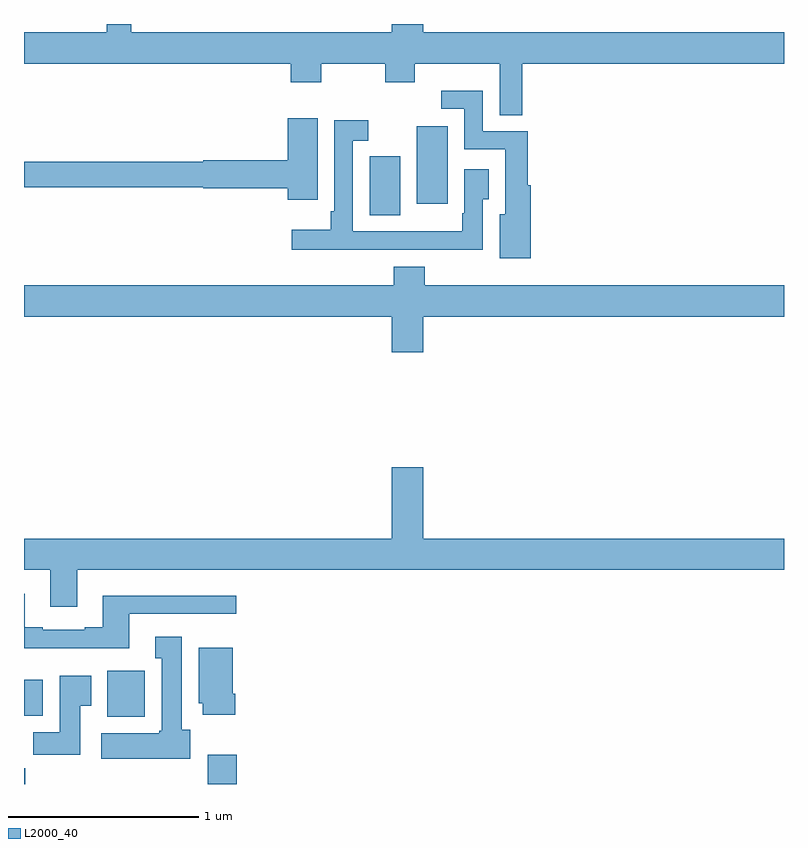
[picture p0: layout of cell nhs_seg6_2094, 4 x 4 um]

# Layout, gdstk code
import gdstk
lib = gdstk.Library(unit=1e-6, precision=1e-09)
def R(c, l, rs):  # rectangles x0, y0, x1, y1
    for r in rs: c.add(gdstk.rectangle(r[:2], r[2:], *l))
def P(c, l, *ps):  # polygons
    for p in ps: c.add(gdstk.Polygon(p, *l))
L2000_40 = (2000, 40)

nhs_seg6_2094 = lib.new_cell('nhs_seg6_2094')
R(nhs_seg6_2094, L2000_40, [(235,987.5,235.007,987.584), (235.967,987.5,236.12,987.655), (235.439,987.854,235.636,988.096), (235,987.86,235.099,988.048), (236.819,990.493,236.98,990.804), (237.068,990.555,237.229,990.961)])
P(nhs_seg6_2094, L2000_40, [(237.622,991.292),(239,991.292),(239,991.456),(237.1,991.456),(237.1,991.5),(236.936,991.5),(236.936,991.456),(235.565,991.456),(235.565,991.5),(235.436,991.5),(235.436,991.456),(235,991.456),(235,991.292),(236.405,991.292),(236.405,991.193),(236.565,991.193),(236.565,991.292),(236.902,991.292),(236.902,991.193),(237.057,991.193),(237.057,991.292),(237.503,991.292),(237.503,991.021),(237.622,991.021)],
  [(237.668,990.651),(237.652,990.651),(237.652,990.936),(237.414,990.936),(237.414,991.15),(237.195,991.15),(237.195,991.053),(237.318,991.053),(237.318,990.84),(237.533,990.84),(237.533,990.499),(237.503,990.499),(237.503,990.267),(237.668,990.267)],
  [(236.545,991.003),(236.387,991.003),(236.387,990.782),(235.944,990.782),(235.944,990.776),(235,990.776),(235,990.64),(235.944,990.64),(235.944,990.635),(236.387,990.635),(236.387,990.576),(236.545,990.576)],
  [(236.827,990.312),(237.193,990.312),(237.193,990.311),(237.414,990.311),(237.414,990.577),(237.445,990.577),(237.445,990.736),(237.318,990.736),(237.318,990.505),(237.306,990.505),(237.306,990.409),(237.076,990.409),(237.076,990.408),(236.73,990.408),(236.73,990.885),(236.812,990.885),(236.812,990.994),(236.634,990.994),(236.634,990.514),(236.614,990.514),(236.614,990.418),(236.409,990.418),(236.409,990.311),(236.827,990.311)],
  [(237.1,989.96),(239,989.96),(239,990.124),(237.11,990.124),(237.11,990.223),(236.945,990.223),(236.945,990.124),(235,990.124),(235,989.96),(236.936,989.96),(236.936,989.772),(237.1,989.772)],
  [(235.279,988.628),(239,988.628),(239,988.792),(237.1,988.792),(237.1,989.167),(236.936,989.167),(236.936,988.792),(235,988.792),(235,988.628),(235.139,988.628),(235.139,988.434),(235.279,988.434)],
  [(235.555,988.395),(236.116,988.395),(236.116,988.492),(235.415,988.492),(235.415,988.324),(235.319,988.324),(235.319,988.311),(235.099,988.311),(235.099,988.324),(235.003,988.324),(235.003,988.501),(235,988.501),(235,988.214),(235.555,988.214)],
  [(235.876,987.786),(235.831,987.786),(235.831,988.276),(235.691,988.276),(235.691,988.163),(235.724,988.163),(235.724,987.78),(235.711,987.78),(235.711,987.766),(235.407,987.766),(235.407,987.632),(235.876,987.632)],
  [(236.111,987.976),(236.098,987.976),(236.098,988.216),(235.919,988.216),(235.919,987.924),(235.94,987.924),(235.94,987.864),(236.111,987.864)],
  [(235.297,987.913),(235.354,987.913),(235.354,988.069),(235.187,988.069),(235.187,987.772),(235.048,987.772),(235.048,987.654),(235.297,987.654)])

lib.write_gds('nhs_seg6_2094.gds')
